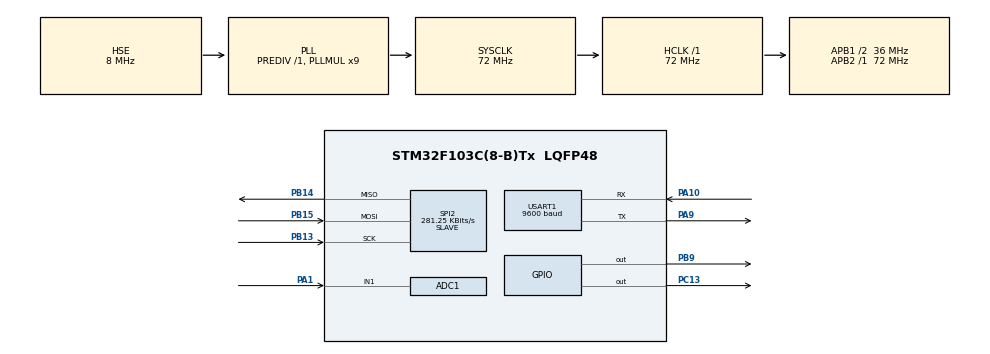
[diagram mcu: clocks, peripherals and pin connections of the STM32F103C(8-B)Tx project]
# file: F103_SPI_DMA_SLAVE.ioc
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ADC1.Channel-0\#ChannelRegularConversion=ADC_CHANNEL_1
ADC1.ContinuousConvMode=ENABLE
ADC1.NbrOfConversion=1
ADC1.NbrOfConversionFlag=1
ADC1.Rank-0\#ChannelRegularConversion=1
ADC1.SamplingTime-0\#ChannelRegularConversion=ADC_SAMPLETIME_28CYCLES_5
ADC1.master=1
Dma.Request0=SPI2_RX
Dma.Request1=SPI2_TX
Dma.SPI2_RX.0.Direction=DMA_PERIPH_TO_MEMORY
Dma.SPI2_RX.0.Instance=DMA1_Channel4
Dma.SPI2_RX.0.MemDataAlignment=DMA_MDATAALIGN_BYTE
Dma.SPI2_RX.0.MemInc=DMA_MINC_ENABLE
Dma.SPI2_RX.0.Mode=DMA_NORMAL
Dma.SPI2_RX.0.PeriphDataAlignment=DMA_PDATAALIGN_BYTE
Dma.SPI2_RX.0.PeriphInc=DMA_PINC_DISABLE
Dma.SPI2_RX.0.Priority=DMA_PRIORITY_HIGH
Dma.SPI2_TX.1.Direction=DMA_MEMORY_TO_PERIPH
Dma.SPI2_TX.1.Instance=DMA1_Channel5
Dma.SPI2_TX.1.MemDataAlignment=DMA_MDATAALIGN_BYTE
Dma.SPI2_TX.1.MemInc=DMA_MINC_ENABLE
Dma.SPI2_TX.1.Mode=DMA_NORMAL
Dma.SPI2_TX.1.PeriphDataAlignment=DMA_PDATAALIGN_BYTE
Dma.SPI2_TX.1.PeriphInc=DMA_PINC_DISABLE
Dma.SPI2_TX.1.Priority=DMA_PRIORITY_LOW
Mcu.Family=STM32F1
Mcu.Name=STM32F103C(8-B)Tx
Mcu.Package=LQFP48
NVIC.ADC1_2_IRQn=true\:4\:0\:true\:false\:true\:true\:true
NVIC.DMA1_Channel4_IRQn=true\:3\:0\:true\:false\:true\:false\:true
NVIC.DMA1_Channel5_IRQn=true\:3\:0\:true\:false\:true\:false\:true
NVIC.PriorityGroup=NVIC_PRIORITYGROUP_4
NVIC.SPI2_IRQn=true\:2\:0\:true\:false\:true\:true\:true
NVIC.USART1_IRQn=true\:0\:0\:false\:false\:true\:true\:true
PA1.Signal=ADCx_IN1
PA10.Mode=Asynchronous
PA10.Signal=USART1_RX
PA13.Mode=Serial_Wire
PA13.Signal=SYS_JTMS-SWDIO
PA14.Mode=Serial_Wire
PA14.Signal=SYS_JTCK-SWCLK
PA9.Mode=Asynchronous
PA9.Signal=USART1_TX
PB13.Mode=Full_Duplex_Slave
PB13.Signal=SPI2_SCK
PB14.Mode=Full_Duplex_Slave
PB14.Signal=SPI2_MISO
PB15.Mode=Full_Duplex_Slave
PB15.Signal=SPI2_MOSI
PB9.Signal=GPIO_Output
PC13-TAMPER-RTC.Signal=GPIO_Output
PD0-OSC_IN.Mode=HSE-External-Oscillator
PD0-OSC_IN.Signal=RCC_OSC_IN
PD1-OSC_OUT.Mode=HSE-External-Oscillator
PD1-OSC_OUT.Signal=RCC_OSC_OUT
ProjectManager.HeapSize=0x200
ProjectManager.StackSize=0x400
ProjectManager.TargetToolchain=STM32CubeIDE
RCC.ADCPresc=RCC_ADCPCLK2_DIV6
RCC.AHBFreq_Value=72000000
RCC.APB1CLKDivider=RCC_HCLK_DIV2
RCC.APB1Freq_Value=36000000
RCC.APB1TimFreq_Value=72000000
RCC.APB2Freq_Value=72000000
RCC.APB2TimFreq_Value=72000000
RCC.HCLKFreq_Value=72000000
RCC.PLLMUL=RCC_PLL_MUL9
RCC.PLLSourceVirtual=RCC_PLLSOURCE_HSE
RCC.SYSCLKFreq_VALUE=72000000
RCC.SYSCLKSource=RCC_SYSCLKSOURCE_PLLCLK
RCC.USBFreq_Value=72000000
SH.ADCx_IN1.0=ADC1_IN1,IN1
SPI2.BaudRatePrescaler=SPI_BAUDRATEPRESCALER_128
SPI2.CLKPhase=SPI_PHASE_1EDGE
SPI2.CLKPolarity=SPI_POLARITY_HIGH
SPI2.CalculateBaudRate=281.25 KBits/s
SPI2.Direction=SPI_DIRECTION_2LINES
SPI2.Mode=SPI_MODE_SLAVE
SPI2.VirtualType=VM_SLAVE
USART1.BaudRate=9600
USART1.VirtualMode=VM_ASYNC
board=custom

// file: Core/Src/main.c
/* USER CODE BEGIN Header */
/**
  ******************************************************************************
  * @file           : main.c
  * @brief          : Main program body
  ******************************************************************************
  * @attention
  *
  * <h2><center>&copy; Copyright (c) 2020 STMicroelectronics.
  * All rights reserved.</center></h2>
  *
  * This software component is licensed by ST under BSD 3-Clause license,
  * the "License"; You may not use this file except in compliance with the
  * License. You may obtain a copy of the License at:
  *                        opensource.org/licenses/BSD-3-Clause
  *
  ******************************************************************************
  */
/* USER CODE END Header */

#include "main.h"

ADC_HandleTypeDef hadc1;

SPI_HandleTypeDef hspi2;
DMA_HandleTypeDef hdma_spi2_rx;
DMA_HandleTypeDef hdma_spi2_tx;

UART_HandleTypeDef huart1;

/* USER CODE BEGIN PV */
/* Size of buffer */
#define BUFFERSIZE                       (COUNTOF(aTxBuffer) - 1)

/* Exported macro ------------------------------------------------------------*/
#define COUNTOF(__BUFFER__)   (sizeof(__BUFFER__) / sizeof(*(__BUFFER__)))
/* Exported functions ------------------------------------------------------- */

uint8_t aTxBuffer[] = "SPI SLAVE DEN CEVAP: SLAVE'DEN MESAJ ALINDI";
/* Buffer used for reception */
uint8_t aRxBuffer[43];
uint32_t ADCValue = 0;
/* USER CODE END PV */

void SystemClock_Config(void);
static void MX_GPIO_Init(void);
static void MX_DMA_Init(void);
static void MX_ADC1_Init(void);
static void MX_SPI2_Init(void);
static void MX_USART1_UART_Init(void);

int main(void)
{

  /* MCU Configuration--------------------------------------------------------*/

  /* Reset of all peripherals, Initializes the Flash interface and the Systick. */
  HAL_Init();

  /* Configure the system clock */
  SystemClock_Config();

  /* Initialize all configured peripherals */
  MX_GPIO_Init();
  MX_DMA_Init();
  MX_ADC1_Init();
  MX_SPI2_Init();
  MX_USART1_UART_Init();
  /* USER CODE BEGIN 2 */

  if(HAL_ADC_Start_IT(&hadc1) != HAL_OK){
	   Error_Handler();
  }
  for(volatile uint8_t i=0;i<16;i++)
  {
	  HAL_GPIO_TogglePin(GPIOB, GPIO_PIN_9);
	  HAL_GPIO_TogglePin(GPIOC, GPIO_PIN_13);
	  HAL_Delay(100);
  }

  HAL_GPIO_WritePin(GPIOB, GPIO_PIN_9, GPIO_PIN_RESET);
  HAL_GPIO_WritePin(GPIOC, GPIO_PIN_13, GPIO_PIN_RESET);

  /* CLK sinyalinin düzgün şekilde aşağı çekilmesi için SPI gönderme / alma işlevlerini çağırmadan önce SPI bloğu etkinleştirilir.
        Aksi takdirde, SPI CLK sinyali bu kartta temiz değildir ve aktarım sırasında hatalara neden olur */

  __HAL_SPI_ENABLE(&hspi2);

  if(HAL_SPI_TransmitReceive_DMA(&hspi2, (uint8_t*)aTxBuffer, (uint8_t *)aRxBuffer, 43) != HAL_OK)
  {
    Error_Handler();
  }

  while (HAL_SPI_GetState(&hspi2) != HAL_SPI_STATE_READY);

//  HAL_ADC_Start(&hadc1);
//  if (HAL_ADC_PollForConversion(&hadc1, HAL_MAX_DELAY) == HAL_OK)
//  {
//	  ADCValue = HAL_ADC_GetValue(&hadc1);
//  }
//  HAL_ADC_Stop(&hadc1);

  /* USER CODE END 2 */

  /* Infinite loop */
  while (1)
  {

  }
}

void SystemClock_Config(void)
{
  RCC_OscInitTypeDef RCC_OscInitStruct = {0};
  RCC_ClkInitTypeDef RCC_ClkInitStruct = {0};
  RCC_PeriphCLKInitTypeDef PeriphClkInit = {0};

  /** Initializes the CPU, AHB and APB busses clocks
  */
  RCC_OscInitStruct.OscillatorType = RCC_OSCILLATORTYPE_HSE;
  RCC_OscInitStruct.HSEState = RCC_HSE_ON;
  RCC_OscInitStruct.HSEPredivValue = RCC_HSE_PREDIV_DIV1;
  RCC_OscInitStruct.HSIState = RCC_HSI_ON;
  RCC_OscInitStruct.PLL.PLLState = RCC_PLL_ON;
  RCC_OscInitStruct.PLL.PLLSource = RCC_PLLSOURCE_HSE;
  RCC_OscInitStruct.PLL.PLLMUL = RCC_PLL_MUL9;
  if (HAL_RCC_OscConfig(&RCC_OscInitStruct) != HAL_OK)
  {
    Error_Handler();
  }
  /** Initializes the CPU, AHB and APB busses clocks
  */
  RCC_ClkInitStruct.ClockType = RCC_CLOCKTYPE_HCLK|RCC_CLOCKTYPE_SYSCLK
                              |RCC_CLOCKTYPE_PCLK1|RCC_CLOCKTYPE_PCLK2;
  RCC_ClkInitStruct.SYSCLKSource = RCC_SYSCLKSOURCE_PLLCLK;
  RCC_ClkInitStruct.AHBCLKDivider = RCC_SYSCLK_DIV1;
  RCC_ClkInitStruct.APB1CLKDivider = RCC_HCLK_DIV2;
  RCC_ClkInitStruct.APB2CLKDivider = RCC_HCLK_DIV1;

  if (HAL_RCC_ClockConfig(&RCC_ClkInitStruct, FLASH_LATENCY_2) != HAL_OK)
  {
    Error_Handler();
  }
  PeriphClkInit.PeriphClockSelection = RCC_PERIPHCLK_ADC;
  PeriphClkInit.AdcClockSelection = RCC_ADCPCLK2_DIV6;
  if (HAL_RCCEx_PeriphCLKConfig(&PeriphClkInit) != HAL_OK)
  {
    Error_Handler();
  }
}

static void MX_ADC1_Init(void)
{

  ADC_ChannelConfTypeDef sConfig = {0};

  /** Common config
  */
  hadc1.Instance = ADC1;
  hadc1.Init.ScanConvMode = ADC_SCAN_DISABLE;
  hadc1.Init.ContinuousConvMode = ENABLE;
  hadc1.Init.DiscontinuousConvMode = DISABLE;
  hadc1.Init.ExternalTrigConv = ADC_SOFTWARE_START;
  hadc1.Init.DataAlign = ADC_DATAALIGN_RIGHT;
  hadc1.Init.NbrOfConversion = 1;
  if (HAL_ADC_Init(&hadc1) != HAL_OK)
  {
    Error_Handler();
  }
  /** Configure Regular Channel
  */
  sConfig.Channel = ADC_CHANNEL_1;
  sConfig.Rank = ADC_REGULAR_RANK_1;
  sConfig.SamplingTime = ADC_SAMPLETIME_28CYCLES_5;
  if (HAL_ADC_ConfigChannel(&hadc1, &sConfig) != HAL_OK)
  {
    Error_Handler();
  }

}

static void MX_SPI2_Init(void)
{

  /* SPI2 parameter configuration*/
  hspi2.Instance = SPI2;
  hspi2.Init.Mode = SPI_MODE_SLAVE;
  hspi2.Init.Direction = SPI_DIRECTION_2LINES;
  hspi2.Init.DataSize = SPI_DATASIZE_8BIT;
  hspi2.Init.CLKPolarity = SPI_POLARITY_HIGH;
  hspi2.Init.CLKPhase = SPI_PHASE_1EDGE;
  hspi2.Init.NSS = SPI_NSS_SOFT;
  hspi2.Init.BaudRatePrescaler = SPI_BAUDRATEPRESCALER_128;
  hspi2.Init.FirstBit = SPI_FIRSTBIT_MSB;
  hspi2.Init.TIMode = SPI_TIMODE_DISABLE;
  hspi2.Init.CRCCalculation = SPI_CRCCALCULATION_DISABLE;
  hspi2.Init.CRCPolynomial = 10;
  if (HAL_SPI_Init(&hspi2) != HAL_OK)
  {
    Error_Handler();
  }

}

static void MX_USART1_UART_Init(void)
{

  huart1.Instance = USART1;
  huart1.Init.BaudRate = 9600;
  huart1.Init.WordLength = UART_WORDLENGTH_8B;
  huart1.Init.StopBits = UART_STOPBITS_1;
  huart1.Init.Parity = UART_PARITY_NONE;
  huart1.Init.Mode = UART_MODE_TX_RX;
  huart1.Init.HwFlowCtl = UART_HWCONTROL_NONE;
  huart1.Init.OverSampling = UART_OVERSAMPLING_16;
  if (HAL_UART_Init(&huart1) != HAL_OK)
  {
    Error_Handler();
  }

}

static void MX_DMA_Init(void)
{

  /* DMA controller clock enable */
  __HAL_RCC_DMA1_CLK_ENABLE();

  /* DMA interrupt init */
  /* DMA1_Channel4_IRQn interrupt configuration */
  HAL_NVIC_SetPriority(DMA1_Channel4_IRQn, 3, 0);
  HAL_NVIC_EnableIRQ(DMA1_Channel4_IRQn);
  /* DMA1_Channel5_IRQn interrupt configuration */
  HAL_NVIC_SetPriority(DMA1_Channel5_IRQn, 3, 0);
  HAL_NVIC_EnableIRQ(DMA1_Channel5_IRQn);

}

static void MX_GPIO_Init(void)
{
  GPIO_InitTypeDef GPIO_InitStruct = {0};

  /* GPIO Ports Clock Enable */
  __HAL_RCC_GPIOC_CLK_ENABLE();
  __HAL_RCC_GPIOD_CLK_ENABLE();
  __HAL_RCC_GPIOA_CLK_ENABLE();
  __HAL_RCC_GPIOB_CLK_ENABLE();

  /*Configure GPIO pin Output Level */
  HAL_GPIO_WritePin(GPIOC, GPIO_PIN_13, GPIO_PIN_RESET);

  /*Configure GPIO pin Output Level */
  HAL_GPIO_WritePin(GPIOB, GPIO_PIN_9, GPIO_PIN_RESET);

  /*Configure GPIO pin : PC13 */
  GPIO_InitStruct.Pin = GPIO_PIN_13;
  GPIO_InitStruct.Mode = GPIO_MODE_OUTPUT_PP;
  GPIO_InitStruct.Pull = GPIO_NOPULL;
  GPIO_InitStruct.Speed = GPIO_SPEED_FREQ_LOW;
  HAL_GPIO_Init(GPIOC, &GPIO_InitStruct);

  /*Configure GPIO pin : PB9 */
  GPIO_InitStruct.Pin = GPIO_PIN_9;
  GPIO_InitStruct.Mode = GPIO_MODE_OUTPUT_PP;
  GPIO_InitStruct.Pull = GPIO_NOPULL;
  GPIO_InitStruct.Speed = GPIO_SPEED_FREQ_LOW;
  HAL_GPIO_Init(GPIOB, &GPIO_InitStruct);

}

/* USER CODE BEGIN 4 */
void TimeOut_Handler(void)
{
	HAL_GPIO_WritePin(GPIOB, GPIO_PIN_9, GPIO_PIN_RESET);
	HAL_GPIO_WritePin(GPIOC, GPIO_PIN_13,GPIO_PIN_RESET);
}
 void HAL_ADC_ConvCpltCallback(ADC_HandleTypeDef* hadc)
{
//	  if(HAL_ADC_Start_IT(&hadc1) != HAL_OK){
//		   Error_Handler();
//	  }
	 ADCValue = HAL_ADC_GetValue(&hadc1);
}

 void HAL_SPI_TxRxCpltCallback(SPI_HandleTypeDef *hspi)
{
//	  HAL_ADC_Start(&hadc1);
//	  if (HAL_ADC_PollForConversion(&hadc1, HAL_MAX_DELAY) == HAL_OK)
//	  {
//		  ADCValue = HAL_ADC_GetValue(&hadc1);
//	  }
//	  HAL_ADC_Stop(&hadc1);

	// ADCValue = HAL_ADC_GetValue(&hadc1);
	 sprintf(aTxBuffer,"SPI SLAVE DEN CEVAP: SLAVE     ADC :%4d    ", ADCValue);

	 if(HAL_SPI_TransmitReceive_DMA(&hspi2, (uint8_t*)aTxBuffer, (uint8_t *)aRxBuffer, 43) != HAL_OK)
	  {
	    Error_Handler();
	  }
	  HAL_GPIO_WritePin(GPIOB, GPIO_PIN_9, GPIO_PIN_SET);
	  HAL_GPIO_WritePin(GPIOC, GPIO_PIN_13, GPIO_PIN_SET);
}

 void HAL_SPI_ErrorCallback(SPI_HandleTypeDef *hspi)
 {
		HAL_GPIO_WritePin(GPIOB, GPIO_PIN_9, GPIO_PIN_RESET);
		HAL_GPIO_WritePin(GPIOC, GPIO_PIN_13,GPIO_PIN_RESET);
 }

/**
  * @brief  This function is executed in case of error occurrence.
  * @retval None
  */

/* USER CODE END 4 */

void Error_Handler(void)
{
  /* USER CODE BEGIN Error_Handler_Debug */
  /* User can add his own implementation to report the HAL error return state */
	HAL_GPIO_WritePin(GPIOB, GPIO_PIN_9, GPIO_PIN_RESET);
	HAL_GPIO_WritePin(GPIOC, GPIO_PIN_13,GPIO_PIN_RESET);
  /* USER CODE END Error_Handler_Debug */
}

/************************ (C) COPYRIGHT STMicroelectronics *****END OF FILE****/
